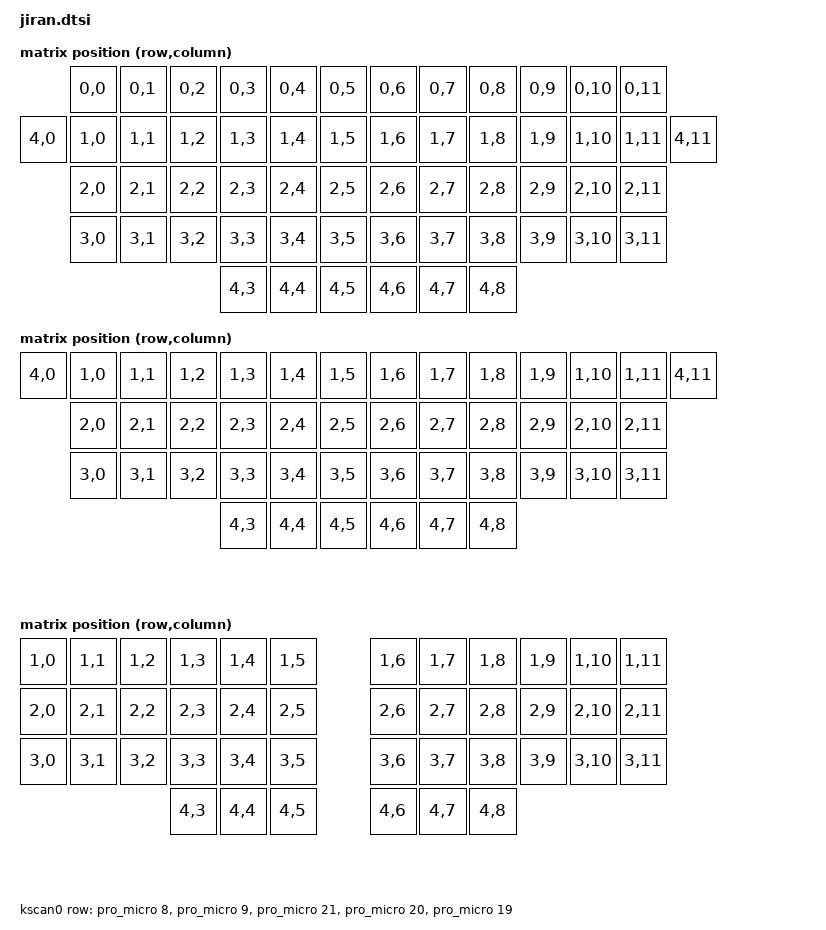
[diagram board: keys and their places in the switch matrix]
/*
 * Copyright (c) 2021 The ZMK Contributors
 *
 * SPDX-License-Identifier: MIT
 */

#include <dt-bindings/zmk/matrix_transform.h>

/ {
    chosen {
        zmk,kscan = &kscan0;
        zmk,matrix-transform = &default_transform;
    };

    default_transform: keymap_transform_0 {
        compatible = "zmk,matrix-transform";
        columns = <12>;
        rows = <5>;

//        | SW1  | SW2  | SW3  | SW4  | SW5  | SW6  |   | SW6  | SW5  | SW4  | SW3  | SW2  | SW1  |
// | SW0  | SW7  | SW8  | SW9  | SW10 | SW11 | SW12 |   | SW12 | SW11 | SW10 | SW9  | SW8  | SW7  | SW0  |
//        | SW13 | SW14 | SW15 | SW16 | SW17 | SW18 |   | SW18 | SW17 | SW16 | SW15 | SW14 | SW13 |
//        | SW19 | SW20 | SW21 | SW22 | SW23 | SW24 |   | SW24 | SW23 | SW22 | SW21 | SW20 | SW19 |
//                             | SW25 | SW26 | SW27 |   | SW27 | SW26 | SW25 |
        map = <
            RC(0,0) RC(0,1) RC(0,2) RC(0,3) RC(0,4) RC(0,5)  RC(0,6) RC(0,7) RC(0,8) RC(0,9) RC(0,10) RC(0,11)
    RC(4,0) RC(1,0) RC(1,1) RC(1,2) RC(1,3) RC(1,4) RC(1,5)  RC(1,6) RC(1,7) RC(1,8) RC(1,9) RC(1,10) RC(1,11) RC(4,11)
            RC(2,0) RC(2,1) RC(2,2) RC(2,3) RC(2,4) RC(2,5)  RC(2,6) RC(2,7) RC(2,8) RC(2,9) RC(2,10) RC(2,11)
            RC(3,0) RC(3,1) RC(3,2) RC(3,3) RC(3,4) RC(3,5)  RC(3,6) RC(3,7) RC(3,8) RC(3,9) RC(3,10) RC(3,11)
                                    RC(4,3) RC(4,4) RC(4,5)  RC(4,6) RC(4,7) RC(4,8)
        >;
    };

    jian_transform: keymap_transform_1 {
        compatible = "zmk,matrix-transform";
        columns = <12>;
        rows = <5>;

// | SW0  | SW7  | SW8  | SW9  | SW10 | SW11 | SW12 |   | SW12 | SW11 | SW10 | SW9  | SW8  | SW7  | SW0  |
//        | SW13 | SW14 | SW15 | SW16 | SW17 | SW18 |   | SW18 | SW17 | SW16 | SW15 | SW14 | SW13 |
//        | SW19 | SW20 | SW21 | SW22 | SW23 | SW24 |   | SW24 | SW23 | SW22 | SW21 | SW20 | SW19 |
//                             | SW25 | SW26 | SW27 |   | SW27 | SW26 | SW25 |
        map = <
    RC(4,0) RC(1,0) RC(1,1) RC(1,2) RC(1,3) RC(1,4) RC(1,5)  RC(1,6) RC(1,7) RC(1,8) RC(1,9) RC(1,10) RC(1,11) RC(4,11)
            RC(2,0) RC(2,1) RC(2,2) RC(2,3) RC(2,4) RC(2,5)  RC(2,6) RC(2,7) RC(2,8) RC(2,9) RC(2,10) RC(2,11)
            RC(3,0) RC(3,1) RC(3,2) RC(3,3) RC(3,4) RC(3,5)  RC(3,6) RC(3,7) RC(3,8) RC(3,9) RC(3,10) RC(3,11)
                                    RC(4,3) RC(4,4) RC(4,5)  RC(4,6) RC(4,7) RC(4,8)
        >;
    };

    crkbd_transform: keymap_transform_2 {
        compatible = "zmk,matrix-transform";
        columns = <12>;
        rows = <5>;

//        | SW7  | SW8  | SW9  | SW10 | SW11 | SW12 |   | SW12 | SW11 | SW10 | SW9  | SW8  | SW7  |
//        | SW13 | SW14 | SW15 | SW16 | SW17 | SW18 |   | SW18 | SW17 | SW16 | SW15 | SW14 | SW13 |
//        | SW19 | SW20 | SW21 | SW22 | SW23 | SW24 |   | SW24 | SW23 | SW22 | SW21 | SW20 | SW19 |
//                             | SW25 | SW26 | SW27 |   | SW27 | SW26 | SW25 |
        map = <
            RC(1,0) RC(1,1) RC(1,2) RC(1,3) RC(1,4) RC(1,5)  RC(1,6) RC(1,7) RC(1,8) RC(1,9) RC(1,10) RC(1,11)
            RC(2,0) RC(2,1) RC(2,2) RC(2,3) RC(2,4) RC(2,5)  RC(2,6) RC(2,7) RC(2,8) RC(2,9) RC(2,10) RC(2,11)
            RC(3,0) RC(3,1) RC(3,2) RC(3,3) RC(3,4) RC(3,5)  RC(3,6) RC(3,7) RC(3,8) RC(3,9) RC(3,10) RC(3,11)
                                    RC(4,3) RC(4,4) RC(4,5)  RC(4,6) RC(4,7) RC(4,8)
        >;
    };

    kscan0: kscan {
        compatible = "zmk,kscan-gpio-matrix";

        diode-direction = "col2row";
        row-gpios
            = <&pro_micro   8 (GPIO_ACTIVE_HIGH | GPIO_PULL_DOWN)>
            , <&pro_micro   9 (GPIO_ACTIVE_HIGH | GPIO_PULL_DOWN)>
            , <&pro_micro  21 (GPIO_ACTIVE_HIGH | GPIO_PULL_DOWN)>
            , <&pro_micro  20 (GPIO_ACTIVE_HIGH | GPIO_PULL_DOWN)>
            , <&pro_micro  19 (GPIO_ACTIVE_HIGH | GPIO_PULL_DOWN)>
            ;

    };
};
